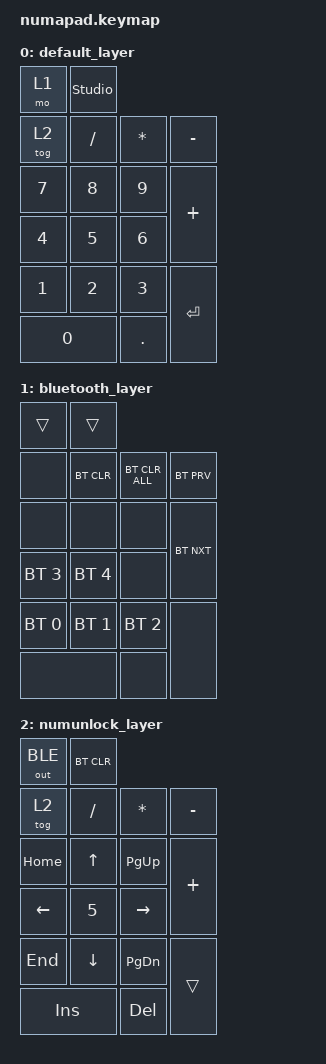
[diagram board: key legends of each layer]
/*
 * Copyright (c) 2020 The ZMK Contributors
 *
 * SPDX-License-Identifier: MIT
 */

#include <behaviors.dtsi>
#include <dt-bindings/zmk/keys.h>
#include <dt-bindings/zmk/outputs.h>
#include <dt-bindings/zmk/bt.h>

/ {
    keymap {
        compatible = "zmk,keymap";

//|  m1  |  m2  |
//|  num |  /   |  *   |  -   |
//|  7   |  8   |  9   |
//|  4   |  5   |  6   |  +   |
//|  1   |  2   |  3   |
//|      0      |  .   |  enter|
        default_layer {
            bindings = <
                &mo 1 &studio_unlock
                &tog 2 &kp SLASH &kp ASTRK &kp MINUS
                &kp N7 &kp N8 &kp N9
                &kp N4 &kp N5 &kp N6 &kp PLUS
                &kp N1 &kp N2 &kp N3
                &kp N0 &kp PERIOD &kp ENTER
            >;
        };

        bluetooth_layer {
            bindings = <
                &trans &trans
                &none &bt BT_CLR &bt BT_CLR_ALL &bt BT_PRV
                &none &none &none
                &bt BT_SEL 3 &bt BT_SEL 4 &none &bt BT_NXT
                &bt BT_SEL 0 &bt BT_SEL 1 &bt BT_SEL 2
                &none &none &none
            >;
        };

        numunlock_layer {
            bindings = <
                &out OUT_BLE &bt BT_CLR
                &tog 2 &kp SLASH &kp ASTRK &kp MINUS
                &kp HOME &kp UP &kp PAGE_UP
                &kp LEFT &kp N5 &kp RIGHT &kp PLUS
                &kp END &kp DOWN &kp PAGE_DOWN
                &kp INSERT &kp DELETE &trans
            >;
        };
    };
};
